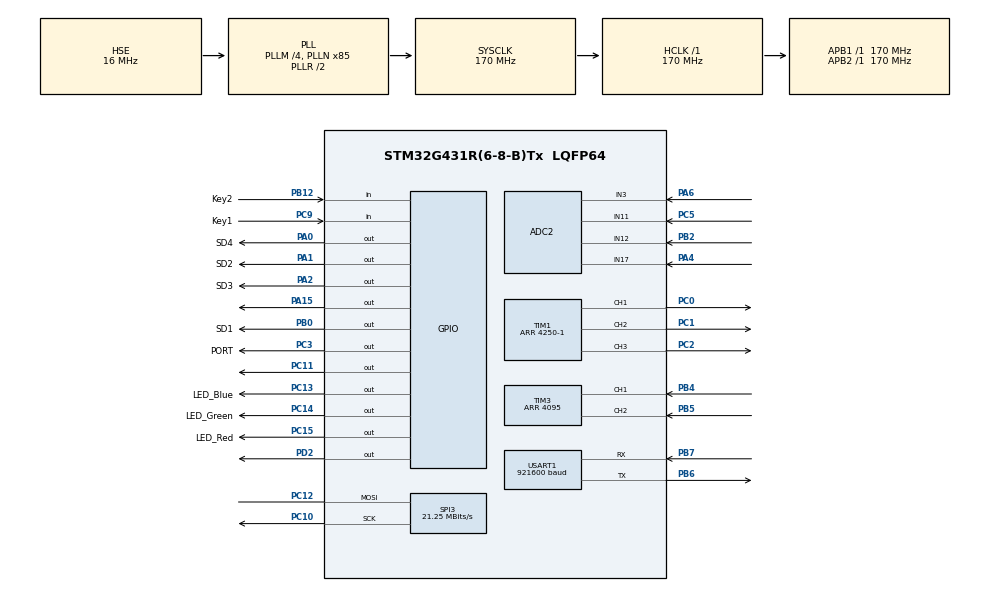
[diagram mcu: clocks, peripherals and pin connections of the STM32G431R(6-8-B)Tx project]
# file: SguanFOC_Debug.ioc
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ADC2.EnableInjectedConversion=ENABLE
ADC2.EnableRegularConversion=DISABLE
ADC2.ExternalTrigInjecConv=ADC_INJECTED_SOFTWARE_START
ADC2.InjNumberOfConversion=4
ADC2.InjectedChannel-3\#ChannelInjectedConversion=ADC_CHANNEL_11
ADC2.InjectedChannel-4\#ChannelInjectedConversion=ADC_CHANNEL_3
ADC2.InjectedChannel-5\#ChannelInjectedConversion=ADC_CHANNEL_17
ADC2.InjectedChannel-7\#ChannelInjectedConversion=ADC_CHANNEL_12
ADC2.InjectedOffsetNumber-3\#ChannelInjectedConversion=ADC_OFFSET_NONE
ADC2.InjectedOffsetNumber-4\#ChannelInjectedConversion=ADC_OFFSET_NONE
ADC2.InjectedOffsetNumber-5\#ChannelInjectedConversion=ADC_OFFSET_NONE
ADC2.InjectedOffsetNumber-7\#ChannelInjectedConversion=ADC_OFFSET_NONE
ADC2.InjectedRank-3\#ChannelInjectedConversion=1
ADC2.InjectedRank-4\#ChannelInjectedConversion=2
ADC2.InjectedRank-5\#ChannelInjectedConversion=3
ADC2.InjectedRank-7\#ChannelInjectedConversion=4
ADC2.InjectedSamplingTime-3\#ChannelInjectedConversion=ADC_SAMPLETIME_2CYCLES_5
ADC2.InjectedSamplingTime-4\#ChannelInjectedConversion=ADC_SAMPLETIME_2CYCLES_5
ADC2.InjectedSamplingTime-5\#ChannelInjectedConversion=ADC_SAMPLETIME_2CYCLES_5
ADC2.InjectedSamplingTime-7\#ChannelInjectedConversion=ADC_SAMPLETIME_2CYCLES_5
ADC2.injectedQueueMode=DISABLE
Dma.Request0=USART1_RX
Dma.Request1=SPI3_TX
Dma.Request2=USART1_TX
Dma.SPI3_TX.1.Direction=DMA_MEMORY_TO_PERIPH
Dma.SPI3_TX.1.EventEnable=DISABLE
Dma.SPI3_TX.1.Instance=DMA1_Channel4
Dma.SPI3_TX.1.MemDataAlignment=DMA_MDATAALIGN_BYTE
Dma.SPI3_TX.1.MemInc=DMA_MINC_ENABLE
Dma.SPI3_TX.1.Mode=DMA_NORMAL
Dma.SPI3_TX.1.PeriphDataAlignment=DMA_PDATAALIGN_BYTE
Dma.SPI3_TX.1.PeriphInc=DMA_PINC_DISABLE
Dma.SPI3_TX.1.Polarity=HAL_DMAMUX_REQ_GEN_RISING
Dma.SPI3_TX.1.Priority=DMA_PRIORITY_LOW
Dma.SPI3_TX.1.RequestNumber=1
Dma.SPI3_TX.1.SignalID=NONE
Dma.SPI3_TX.1.SyncEnable=DISABLE
Dma.SPI3_TX.1.SyncPolarity=HAL_DMAMUX_SYNC_NO_EVENT
Dma.SPI3_TX.1.SyncRequestNumber=1
Dma.SPI3_TX.1.SyncSignalID=NONE
Dma.USART1_RX.0.Direction=DMA_PERIPH_TO_MEMORY
Dma.USART1_RX.0.EventEnable=DISABLE
Dma.USART1_RX.0.Instance=DMA1_Channel1
Dma.USART1_RX.0.MemDataAlignment=DMA_MDATAALIGN_BYTE
Dma.USART1_RX.0.MemInc=DMA_MINC_ENABLE
Dma.USART1_RX.0.Mode=DMA_NORMAL
Dma.USART1_RX.0.PeriphDataAlignment=DMA_PDATAALIGN_BYTE
Dma.USART1_RX.0.PeriphInc=DMA_PINC_DISABLE
Dma.USART1_RX.0.Polarity=HAL_DMAMUX_REQ_GEN_RISING
Dma.USART1_RX.0.Priority=DMA_PRIORITY_LOW
Dma.USART1_RX.0.RequestNumber=1
Dma.USART1_RX.0.SignalID=NONE
Dma.USART1_RX.0.SyncEnable=DISABLE
Dma.USART1_RX.0.SyncPolarity=HAL_DMAMUX_SYNC_NO_EVENT
Dma.USART1_RX.0.SyncRequestNumber=1
Dma.USART1_RX.0.SyncSignalID=NONE
Dma.USART1_TX.2.Direction=DMA_MEMORY_TO_PERIPH
Dma.USART1_TX.2.EventEnable=DISABLE
Dma.USART1_TX.2.Instance=DMA1_Channel2
Dma.USART1_TX.2.MemDataAlignment=DMA_MDATAALIGN_BYTE
Dma.USART1_TX.2.MemInc=DMA_MINC_ENABLE
Dma.USART1_TX.2.Mode=DMA_NORMAL
Dma.USART1_TX.2.PeriphDataAlignment=DMA_PDATAALIGN_BYTE
Dma.USART1_TX.2.PeriphInc=DMA_PINC_DISABLE
Dma.USART1_TX.2.Polarity=HAL_DMAMUX_REQ_GEN_RISING
Dma.USART1_TX.2.Priority=DMA_PRIORITY_LOW
Dma.USART1_TX.2.RequestNumber=1
Dma.USART1_TX.2.SignalID=NONE
Dma.USART1_TX.2.SyncEnable=DISABLE
Dma.USART1_TX.2.SyncPolarity=HAL_DMAMUX_SYNC_NO_EVENT
Dma.USART1_TX.2.SyncRequestNumber=1
Dma.USART1_TX.2.SyncSignalID=NONE
Mcu.Family=STM32G4
Mcu.Name=STM32G431R(6-8-B)Tx
Mcu.Package=LQFP64
NVIC.ADC1_2_IRQn=true\:2\:0\:true\:false\:true\:true\:true\:true
NVIC.DMA1_Channel1_IRQn=true\:0\:0\:false\:false\:true\:false\:true\:true
NVIC.DMA1_Channel2_IRQn=true\:0\:0\:false\:false\:true\:false\:true\:true
NVIC.DMA1_Channel4_IRQn=true\:0\:0\:false\:false\:true\:false\:true\:true
NVIC.PriorityGroup=NVIC_PRIORITYGROUP_4
NVIC.SPI3_IRQn=true\:5\:0\:true\:false\:true\:true\:true\:true
NVIC.TIM1_UP_TIM16_IRQn=true\:0\:0\:false\:false\:true\:true\:true\:true
NVIC.TIM2_IRQn=true\:1\:0\:true\:false\:true\:true\:true\:true
NVIC.USART1_IRQn=true\:5\:0\:true\:false\:true\:true\:true\:true
PA0.GPIO_Label=SD4
PA0.GPIO_PuPd=GPIO_PULLDOWN
PA0.Signal=GPIO_Output
PA1.GPIO_Label=SD2
PA1.GPIO_PuPd=GPIO_PULLDOWN
PA1.Signal=GPIO_Output
PA13.Mode=Serial_Wire
PA13.Signal=SYS_JTMS-SWDIO
PA14.Mode=Serial_Wire
PA14.Signal=SYS_JTCK-SWCLK
PA15.GPIO_Speed=GPIO_SPEED_FREQ_VERY_HIGH
PA15.PinState=GPIO_PIN_SET
PA15.Signal=GPIO_Output
PA2.GPIO_Label=SD3
PA2.GPIO_PuPd=GPIO_PULLDOWN
PA2.Signal=GPIO_Output
PA4.Mode=IN17-Single-Ended
PA4.Signal=ADC2_IN17
PA6.Mode=IN3-Single-Ended
PA6.Signal=ADC2_IN3
PB0.GPIO_Label=SD1
PB0.GPIO_PuPd=GPIO_PULLDOWN
PB0.Signal=GPIO_Output
PB12.GPIO_Label=Key2
PB12.GPIO_PuPd=GPIO_NOPULL
PB12.Signal=GPIO_Input
PB2.Mode=IN12-Single-Ended
PB2.Signal=ADC2_IN12
PB4.Signal=S_TIM3_CH1
PB5.Signal=S_TIM3_CH2
PB6.GPIO_FM6=SYSCFG_FASTMODEPLUS_PB6
PB6.GPIO_Speed=GPIO_SPEED_FREQ_VERY_HIGH
PB6.Mode=Asynchronous
PB6.Signal=USART1_TX
PB7.GPIO_FM7=SYSCFG_FASTMODEPLUS_PB7
PB7.GPIO_Speed=GPIO_SPEED_FREQ_VERY_HIGH
PB7.Mode=Asynchronous
PB7.Signal=USART1_RX
PC0.GPIO_Speed=GPIO_SPEED_FREQ_VERY_HIGH
PC0.Signal=S_TIM1_CH1
PC1.GPIO_Speed=GPIO_SPEED_FREQ_VERY_HIGH
PC1.Signal=S_TIM1_CH2
PC10.Mode=Simplex_Bidirectional_Master
PC10.Signal=SPI3_SCK
PC11.GPIO_Speed=GPIO_SPEED_FREQ_VERY_HIGH
PC11.Signal=GPIO_Output
PC12.Mode=Simplex_Bidirectional_Master
PC12.Signal=SPI3_MOSI
PC13.GPIO_Label=LED_Blue
PC13.GPIO_PuPd=GPIO_PULLUP
PC13.PinState=GPIO_PIN_SET
PC13.Signal=GPIO_Output
PC14-OSC32_IN.GPIO_Label=LED_Green
PC14-OSC32_IN.GPIO_PuPd=GPIO_PULLUP
PC14-OSC32_IN.PinState=GPIO_PIN_SET
PC14-OSC32_IN.Signal=GPIO_Output
PC15-OSC32_OUT.GPIO_Label=LED_Red
PC15-OSC32_OUT.GPIO_PuPd=GPIO_PULLUP
PC15-OSC32_OUT.PinState=GPIO_PIN_SET
PC15-OSC32_OUT.Signal=GPIO_Output
PC2.GPIO_Speed=GPIO_SPEED_FREQ_VERY_HIGH
PC2.Signal=S_TIM1_CH3
PC3.GPIO_Label=PORT
PC3.GPIO_PuPd=GPIO_PULLDOWN
PC3.GPIO_Speed=GPIO_SPEED_FREQ_VERY_HIGH
PC3.Signal=GPIO_Output
PC5.Mode=IN11-Single-Ended
PC5.Signal=ADC2_IN11
PC9.GPIO_Label=Key1
PC9.GPIO_PuPd=GPIO_NOPULL
PC9.Signal=GPIO_Input
PD2.GPIO_Speed=GPIO_SPEED_FREQ_VERY_HIGH
PD2.Signal=GPIO_Output
PF0-OSC_IN.Mode=HSE-External-Oscillator
PF0-OSC_IN.Signal=RCC_OSC_IN
PF1-OSC_OUT.Mode=HSE-External-Oscillator
PF1-OSC_OUT.Signal=RCC_OSC_OUT
ProjectManager.HeapSize=0x200
ProjectManager.StackSize=0x400
ProjectManager.TargetToolchain=MDK-ARM V5.32
RCC.ADC12Freq_Value=170000000
RCC.AHBFreq_Value=170000000
RCC.APB1Freq_Value=170000000
RCC.APB1TimFreq_Value=170000000
RCC.APB2Freq_Value=170000000
RCC.APB2TimFreq_Value=170000000
RCC.CortexFreq_Value=170000000
RCC.EXTERNAL_CLOCK_VALUE=12288000
RCC.HCLKFreq_Value=170000000
RCC.HSE_VALUE=16000000
RCC.HSI48_VALUE=48000000
RCC.HSI_VALUE=16000000
RCC.LSE_VALUE=32768
RCC.PLLM=RCC_PLLM_DIV4
RCC.PLLN=85
RCC.PLLSourceVirtual=RCC_PLLSOURCE_HSE
RCC.SYSCLKFreq_VALUE=170000000
RCC.SYSCLKSource=RCC_SYSCLKSOURCE_PLLCLK
RCC.USBFreq_Value=170000000
RCC.VCOOutputFreq_Value=340000000
SH.S_TIM1_CH1.0=TIM1_CH1,PWM Generation1 CH1
SH.S_TIM1_CH2.0=TIM1_CH2,PWM Generation2 CH2
SH.S_TIM1_CH3.0=TIM1_CH3,PWM Generation3 CH3
SH.S_TIM3_CH1.0=TIM3_CH1,Encoder_Interface
SH.S_TIM3_CH2.0=TIM3_CH2,Encoder_Interface
SPI3.BaudRatePrescaler=SPI_BAUDRATEPRESCALER_8
SPI3.CalculateBaudRate=21.25 MBits/s
SPI3.DataSize=SPI_DATASIZE_8BIT
SPI3.Direction=SPI_DIRECTION_1LINE
SPI3.Mode=SPI_MODE_MASTER
SPI3.VirtualType=VM_MASTER
TIM1.AutoReloadPreload=TIM_AUTORELOAD_PRELOAD_ENABLE
TIM1.Channel-PWM\ Generation1\ CH1=TIM_CHANNEL_1
TIM1.Channel-PWM\ Generation2\ CH2=TIM_CHANNEL_2
TIM1.Channel-PWM\ Generation3\ CH3=TIM_CHANNEL_3
TIM1.CounterMode=TIM_COUNTERMODE_CENTERALIGNED1
TIM1.OCMode_PWM-PWM\ Generation1\ CH1=TIM_OCMODE_PWM2
TIM1.OCMode_PWM-PWM\ Generation2\ CH2=TIM_OCMODE_PWM2
TIM1.OCMode_PWM-PWM\ Generation3\ CH3=TIM_OCMODE_PWM2
TIM1.PeriodNoDither=4250-1
TIM1.RepetitionCounter=2-1
TIM1.TIM_MasterOutputTrigger=TIM_TRGO_UPDATE
TIM2.AutoReloadPreload=TIM_AUTORELOAD_PRELOAD_ENABLE
TIM2.PeriodNoDither=1000-1
TIM2.Prescaler=170-1
TIM3.EncoderMode=TIM_ENCODERMODE_TI12
TIM3.PeriodNoDither=4095
USART1.BaudRate=921600
USART1.VirtualMode-Asynchronous=VM_ASYNC
VP_SYS_VS_DBSignals.Mode=DisableDeadBatterySignals
VP_TIM1_VS_ClockSourceINT.Mode=Internal
VP_TIM2_VS_ClockSourceINT.Mode=Internal
board=custom

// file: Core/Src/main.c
/* USER CODE BEGIN Header */
/**
  ******************************************************************************
  * @file           : main.c
  * @brief          : Main program body
  ******************************************************************************
  * @attention
  *
  * Copyright (c) 2026 STMicroelectronics.
  * All rights reserved.
  *
  * This software is licensed under terms that can be found in the LICENSE file
  * in the root directory of this software component.
  * If no LICENSE file comes with this software, it is provided AS-IS.
  *
  ******************************************************************************
  */
/* USER CODE END Header */
#include "main.h"
#include "adc.h"
#include "dma.h"
#include "spi.h"
#include "tim.h"
#include "usart.h"
#include "gpio.h"
#include "Foc.h"

void SystemClock_Config(void);

/* USER CODE BEGIN 0 */
uint16_t t;
/* USER CODE END 0 */

int main(void)
{

  /* MCU Configuration--------------------------------------------------------*/

  /* Reset of all peripherals, Initializes the Flash interface and the Systick. */
  HAL_Init();

  /* Configure the system clock */
  SystemClock_Config();

  /* Initialize all configured peripherals */
  MX_GPIO_Init();
  MX_DMA_Init();
  MX_USART1_UART_Init();
  MX_TIM1_Init();
  MX_ADC2_Init();
  MX_SPI3_Init();
  MX_TIM3_Init();
  MX_TIM2_Init();
  /* USER CODE BEGIN 2 */
	// 初始化定时器中断
	HAL_TIM_Base_Start_IT(&htim1);
	HAL_TIM_Base_Start_IT(&htim2);

	/* ---------- ② 驱动芯片使能（SD 高有效）---------- */
	HAL_GPIO_WritePin(SD1_GPIO_Port, SD1_Pin, GPIO_PIN_SET);   /* PB0 */
	HAL_GPIO_WritePin(SD2_GPIO_Port, SD2_Pin, GPIO_PIN_SET);   /* PA1 */
	HAL_GPIO_WritePin(SD3_GPIO_Port, SD3_Pin, GPIO_PIN_SET);   /* PA2 */
	HAL_GPIO_WritePin(SD4_GPIO_Port, SD4_Pin, GPIO_PIN_SET);   /* PA0 */

	/* ★PWM输出使能：没有这几行，CCR改了也不会有任何输出（MOE/CCxE不使能）*/
	HAL_TIM_PWM_Start(&htim1, TIM_CHANNEL_1);
	HAL_TIM_PWM_Start(&htim1, TIM_CHANNEL_2);
	HAL_TIM_PWM_Start(&htim1, TIM_CHANNEL_3);
	HAL_TIMEx_PWMN_Start(&htim1, TIM_CHANNEL_1);
	HAL_TIMEx_PWMN_Start(&htim1, TIM_CHANNEL_2);
	HAL_TIMEx_PWMN_Start(&htim1, TIM_CHANNEL_3);

	/* 无感 FOC 初始化（也可不写，SguanFOC_High_Loop 首次调用会自动初始化）*/
	SguanFOC_Init();
  /* USER CODE END 2 */

  /* Infinite loop */
  /* USER CODE BEGIN WHILE */

  while (1)
  {
		t++;
    /* USER CODE END WHILE */

  }
}

void SystemClock_Config(void)
{
  RCC_OscInitTypeDef RCC_OscInitStruct = {0};
  RCC_ClkInitTypeDef RCC_ClkInitStruct = {0};

  /** Configure the main internal regulator output voltage
  */
  HAL_PWREx_ControlVoltageScaling(PWR_REGULATOR_VOLTAGE_SCALE1_BOOST);

  /** Initializes the RCC Oscillators according to the specified parameters
  * in the RCC_OscInitTypeDef structure.
  */
  RCC_OscInitStruct.OscillatorType = RCC_OSCILLATORTYPE_HSE;
  RCC_OscInitStruct.HSEState = RCC_HSE_ON;
  RCC_OscInitStruct.PLL.PLLState = RCC_PLL_ON;
  RCC_OscInitStruct.PLL.PLLSource = RCC_PLLSOURCE_HSE;
  RCC_OscInitStruct.PLL.PLLM = RCC_PLLM_DIV4;
  RCC_OscInitStruct.PLL.PLLN = 85;
  RCC_OscInitStruct.PLL.PLLP = RCC_PLLP_DIV2;
  RCC_OscInitStruct.PLL.PLLQ = RCC_PLLQ_DIV2;
  RCC_OscInitStruct.PLL.PLLR = RCC_PLLR_DIV2;
  if (HAL_RCC_OscConfig(&RCC_OscInitStruct) != HAL_OK)
  {
    Error_Handler();
  }

  /** Initializes the CPU, AHB and APB buses clocks
  */
  RCC_ClkInitStruct.ClockType = RCC_CLOCKTYPE_HCLK|RCC_CLOCKTYPE_SYSCLK
                              |RCC_CLOCKTYPE_PCLK1|RCC_CLOCKTYPE_PCLK2;
  RCC_ClkInitStruct.SYSCLKSource = RCC_SYSCLKSOURCE_PLLCLK;
  RCC_ClkInitStruct.AHBCLKDivider = RCC_SYSCLK_DIV1;
  RCC_ClkInitStruct.APB1CLKDivider = RCC_HCLK_DIV1;
  RCC_ClkInitStruct.APB2CLKDivider = RCC_HCLK_DIV1;

  if (HAL_RCC_ClockConfig(&RCC_ClkInitStruct, FLASH_LATENCY_4) != HAL_OK)
  {
    Error_Handler();
  }
}

void Error_Handler(void)
{
  __disable_irq();
  while (1)
  {
  }
}
